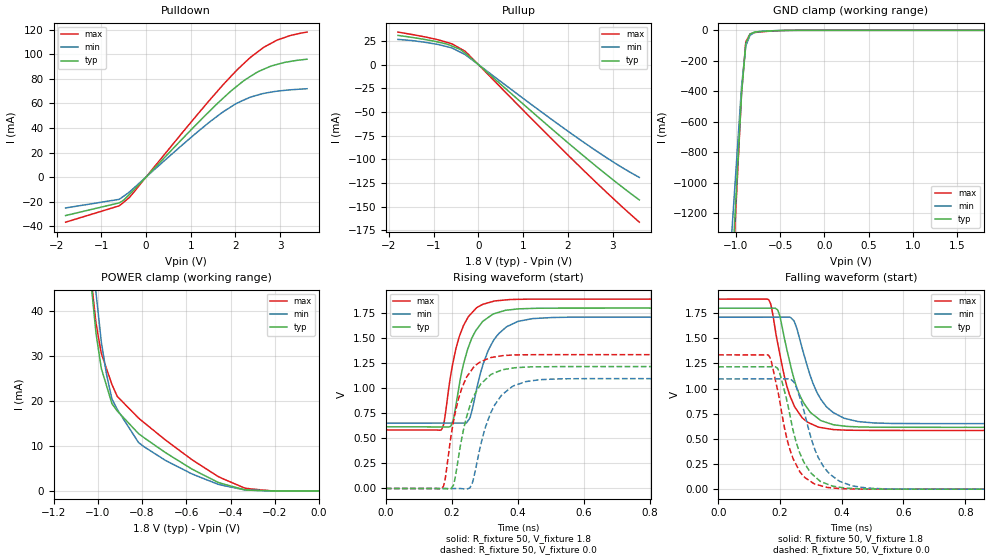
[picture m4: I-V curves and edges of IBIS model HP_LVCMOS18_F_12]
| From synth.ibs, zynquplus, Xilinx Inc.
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[Model] HP_LVCMOS18_F_12
Model_type I/O
Polarity   Non-Inverting
Enable   Active-Low
Vinl =   0.6300V
Vinh =   1.1700V
Vmeas =  0.9000V
Cref =   0.0000F
Rref =   1.0000M
Vref =   0.0000V
C_comp   2.69373293702p   2.69341016229p   2.69529909352p
C_comp_pullup   808.119881107f   808.023048688f   808.589728055f
C_comp_pulldown   1.88561305592p   1.8853871136p   1.88670936546p
[Temperature Range]   25.0000   100.0000   0.0
[Voltage Range]   1.8000V   1.7100V   1.8900V
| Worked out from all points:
|   slope of the pulldown table from 0 to 0.27 V, typ, clamps not added: 25.9 ohm
|   slope of the pullup table from 0 to 0.27 V, typ, clamps not added: 23.9 ohm
|   GND clamp passes 1 mA (typ) near -0.48 V on its own axis
|   POWER clamp passes 1 mA (typ) near -0.39 V on its own axis
|   rising waveform, R_fixture 50, V_fixture 1.8: 20-80 % time 57.2ps typ, 63.9ps min, 51.4ps max; typ from 0.615 V to 1.8 V
|   rising waveform, R_fixture 50, V_fixture 0.0: 20-80 % time 58.5ps typ, 65.4ps min, 52.2ps max; typ from 0 V to 1.22 V
|   falling waveform, R_fixture 50, V_fixture 1.8: 20-80 % time 67.7ps typ, 76.3ps min, 61.4ps max; typ from 1.8 V to 0.615 V
|   falling waveform, R_fixture 50, V_fixture 0.0: 20-80 % time 67.6ps typ, 73.7ps min, 62.1ps max; typ from 1.22 V to 0 V
[Pulldown]
|Voltage   I(typ)   I(min)   I(max)
-1.8V     -31.39mA   -25.2mA    -36.81mA
-600mV    -21.05mA   -18.17mA   -23.45mA
-480mV    -18.14mA   -15.07mA   -19.89mA
-360mV    -13.7mA    -11.8mA    -16.15mA
780mV     29.96mA    25.24mA    34.82mA
1.44V     54.45mA    45.43mA    63.52mA
1.98V     72.58mA    59.13mA    85.31mA
2.28V     80.84mA    64.39mA    95.82mA
2.64V     88.1mA     68.3mA     106mA
2.94V     91.98mA    70.11mA    111.8mA
3.24V     94.39mA    71.2mA     115.6mA
3.6V      96.13mA    72.04mA    118.2mA
[Pullup]
|Voltage   I(typ)   I(min)   I(max)
-1.8V     30.79mA    26.59mA    34.3mA
-1.2V     26.5mA     23.57mA    29.25mA
-720mV    21.8mA     19.1mA     23.7mA
-600mV    19.73mA    17.69mA    22.03mA
-420mV    16.26mA    13.48mA    17.33mA
-300mV    12.09mA    10.63mA    14.1mA
1.2V      -49.84mA   -42.64mA   -57.65mA
2.1V      -86.33mA   -73.55mA   -99.98mA
2.94V     -118.9mA   -100.5mA   -138mA
3.6V      -142.8mA   -119.1mA   -166.3mA
[GND_clamp]
|Voltage   I(typ)   I(min)   I(max)
-1.8V     -9.812A    -7.871A    -10.69A
-1.08V    -1.976A    -1.617A    -2.115A
-1.032V   -1.454A    -1.2A      -1.545A
-984mV    -933.7mA   -784.5mA   -975.9mA
-936mV    -414.2mA   -368.9mA   -408.7mA
-888mV    -85.1mA    -101.1mA   -75.37mA
-840mV    -23.78mA   -32.36mA   -24.02mA
-792mV    -12.17mA   -14.48mA   -14.81mA
-744mV    -8.706mA   -8.441mA   -11.52mA
-456mV    -716.8uA   -706.2uA   -1.236mA
1.8V      4.55nA     280.1nA    4.678nA
[Power_clamp]
|Voltage   I(typ)   I(min)   I(max)
-1.8V     2.015A     1.979A     2.041A
-1.032V   46.94mA    59.82mA    48.06mA
-1.008V   34.93mA    43.92mA    37.14mA
-984mV    27.15mA    33.02mA    30.47mA
-960mV    23.25mA    25.7mA     27.02mA
-936mV    19.35mA    20.39mA    23.58mA
-912mV    17.72mA    18.07mA    20.95mA
-816mV    12.71mA    10.74mA    16.16mA
-576mV    4.888mA    3.807mA    6.984mA
-456mV    1.889mA    1.464mA    3.187mA
-336mV    241.9uA    225.6uA    632.7uA
0V        30.27nA    15.03nA    8.879nA
[Ramp]
|variable   typ   min   max
dV/dt_r   0.7338/0.0585n   0.6624/0.0655n   0.8048/0.0522n
dV/dt_f   0.7116/0.0677n   0.6352/0.0763n   0.7843/0.0615n
R_load=50
[Rising Waveform]
R_fixture=50
V_fixture=1.8
V_fixture_min=1.71
V_fixture_max=1.89
|time   V(typ)   V(min)   V(max)
0s        615.2mV    651.9mV    583.8mV
167.5ps   615.2mV    651.9mV    583.8mV
177.5ps   614.8mV    651.9mV    679.4mV
197.5ps   626.4mV    651.9mV    1.149V
222.5ps   1.037V     651.6mV    1.515V
257.5ps   1.475V     733.2mV    1.741V
295ps     1.671V     1.243V     1.839V
330ps     1.746V     1.495V     1.871V
490ps     1.799V     1.705V     1.89V
3ns       1.8V       1.71V      1.89V
[Rising Waveform]
R_fixture=50
V_fixture=0.0
0s        0V         1.412uV    0V
170ps     139.1uV    -7.846uV   -280uV
180ps     -648.3uV   -6.255uV   99.53mV
205ps     32.85mV    127.8uV    668.7mV
230ps     499.9mV    -1.607mV   998.7mV
255ps     827.8mV    5.687mV    1.159V
302.5ps   1.088V     618mV      1.286V
355ps     1.186V     943mV      1.326V
515ps     1.216V     1.093V     1.336V
3ns       1.217V     1.096V     1.336V
[Falling Waveform]
R_fixture=50
V_fixture=1.8
V_fixture_min=1.71
V_fixture_max=1.89
|time   V(typ)   V(min)   V(max)
0s        1.8V       1.71V      1.89V
162.5ps   1.8V       1.71V      1.887V
172.5ps   1.8V       1.71V      1.808V
195ps     1.764V     1.71V      1.414V
235ps     1.221V     1.706V     909.6mV
260ps     963.4mV    1.538V     763.1mV
297.5ps   767.5mV    1.135V     654.4mV
370ps     642.9mV    768.5mV    593.1mV
560ps     615.5mV    653.7mV    583.9mV
3ns       615.2mV    651.9mV    583.8mV
[Falling Waveform]
R_fixture=50
V_fixture=0.0
0s        1.217V     1.096V     1.336V
162.5ps   1.216V     1.096V     1.333V
192.5ps   1.202V     1.096V     987.7mV
220ps     913.5mV    1.097V     532.7mV
242.5ps   584.5mV    1.073V     303.1mV
297.5ps   170.2mV    541.8mV    80.35mV
352.5ps   50.63mV    180.3mV    17.19mV
430ps     8.023mV    35.81mV    2.312mV
532.5ps   616.9uV    3.648mV    131.6uV
3ns       0V         1.391uV    0V
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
